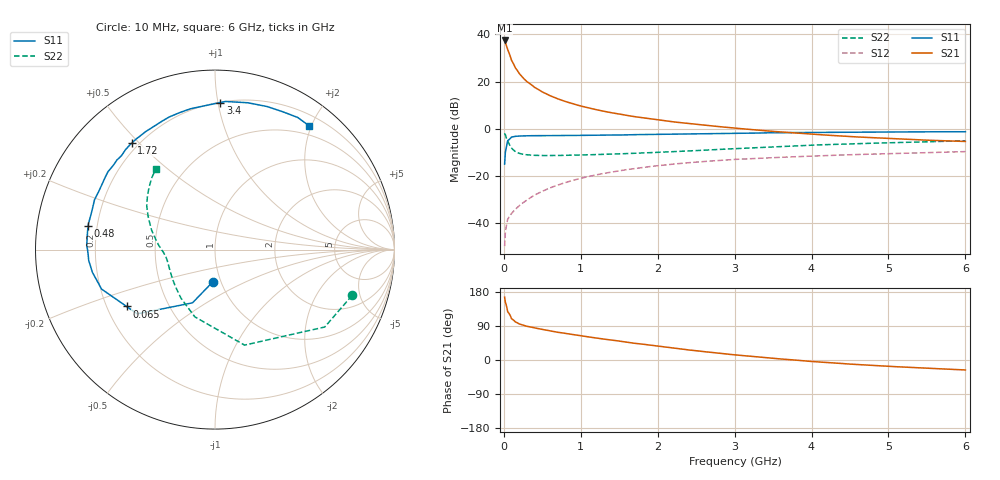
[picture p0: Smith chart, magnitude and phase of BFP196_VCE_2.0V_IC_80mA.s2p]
! Infineon Technologies  Discrete & RF Semiconductors
! BFP196
! VCE = 2.0 V,  IC =  80mA
! Common Emitter S-Parameters:  Jan 2016
# GHz  S  MA  R  50
!  f  S11  S21  S12  S22
! GHz  MAG  ANG  MAG  ANG  MAG  ANG  MAG  ANG
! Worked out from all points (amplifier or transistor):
!   210 points, 10 MHz to 6 GHz, reference 50 ohm
!   highest |S21| = 37.4 dB at 10 MHz (marker M1)
!   |S21| within 3 dB of that: start of sweep to 40.97 MHz
!   unconditionally stable (mu >= 1): 328.7 MHz to 5.232 GHz
!   at 185 MHz: K = 0.85, MSG = 28.6 dB, |S12| = -33.0 dB
!   at 1.52 GHz: K = 1.10, MAG = 10.0 dB, |S12| = -17.6 dB
!   at 6 GHz: K = 1.00, MSG = 2.1 dB, |S12| = -9.6 dB
!   S11 on the Smith chart (normalised r, x): 10 MHz: 0.92, -0.34; 65 MHz: 0.28, -0.27; 480 MHz: 0.16, +0.09; 1.72 GHz: 0.17, +0.48; 3.4 GHz: 0.20, +1.02; 6 GHz: 0.36, +1.97
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0.01  0.1794 -93.7  73.86 165.9  0.0033 74.0  0.8052 -18.5
0.02  0.3218 -112.9  67.38 152.5  0.0065 67.3  0.7483 -35.2
0.05  0.5619 -140.4  47.5 127.3  0.0122 55.1  0.5571 -72.8
0.065  0.5857 -147.3  41.34 123.6  0.0134 53.9  0.4917 -80.4
0.1  0.6691 -160.8  28.14 108.9  0.0162 51.9  0.3911 -106.7
0.15  0.6946 -169.5  19.49 100.4  0.0198 53.8  0.3308 -124.9
0.2  0.7062 -175.1  14.82 95.2  0.0236 58.5  0.3031 -136.2
0.26  0.7095 -179.6  11.48 91.1  0.0281 60.9  0.2878 -145.4
0.3  0.7152 178.1  9.957 88.9  0.0311 62.8  0.2823 -149.5
0.4  0.7169 172.8  7.529 84.5  0.0396 64.9  0.2751 -157.2
0.48  0.7189 169.5  6.318 81.6  0.0461 65.8  0.2727 -161.0
0.6  0.7176 164.8  5.022 76.9  0.0563 66.2  0.2723 -165.3
0.7  0.7205 160.8  4.315 73.1  0.0645 65.9  0.273 -167.7
1.02  0.7275 149.7  2.981 63.5  0.0914 62.8  0.2792 -173.4
1.3  0.7356 140.6  2.348 55.2  0.1143 59.1  0.2879 -177.1
1.72  0.7534 128.0  1.788 43.7  0.1458 52.9  0.3039 177.9
2.02  0.7626 120.0  1.529 36.3  0.1673 48.2  0.319 174.3
3.1  0.8041 93.8  1.002 11.8  0.2292 31.7  0.3869 159.1
3.4  0.8201 87.9  0.91 6.3  0.2422 27.5  0.4086 154.8
4.1  0.8392 75.9  0.753 -5.2  0.2687 18.7  0.4579 146.0
5.1  0.8577 62.5  0.617 -17.7  0.3015 7.3  0.5117 135.3
6  0.8663 52.6  0.54 -26.3  0.3296 -2.6  0.5585 126.2
